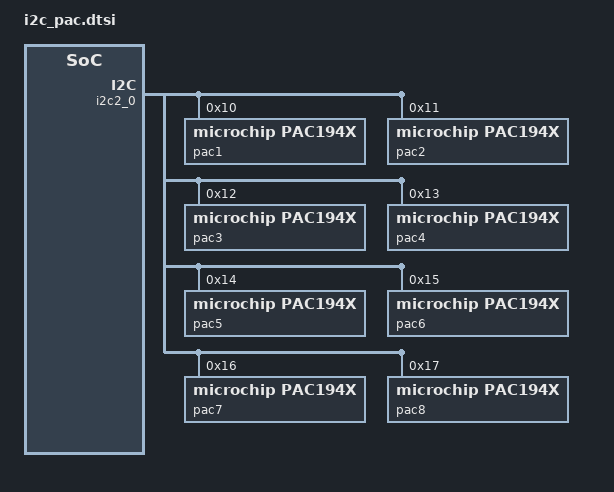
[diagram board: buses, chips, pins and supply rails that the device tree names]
/* Copyright 2026 The ChromiumOS Authors
 * Use of this source code is governed by a BSD-style license that can be
 * found in the LICENSE file.
 */

#include <zephyr/dt-bindings/sensor/pac194x.h>

&i2c2_0 {
	pac1: pac1954@10 {
		compatible = "microchip,pac194x";
		reg = <0x10>;
		status = "okay";
		#address-cells = <1>;
		#size-cells = <0>;
		microchip,refresh-mode = <PAC_REFRESH_MANUAL>;
		zephyr,deferred-init;

		/* PPVAR_BATT */
		channel@1 {
			reg = <0x1>;
			microchip,shunt-resistor-micro-ohms = <5000>;
			microchip,vbus-mode = <PAC_BIPOLAR_HALF_FSR>;
			microchip,vsense-mode = <PAC_BIPOLAR_HALF_FSR>;
			microchip,accumulation-mode = <PAC_ACCUM_VPOWER>;
		};
		/* BL_PWR */
		channel@2 {
			reg = <0x2>;
			microchip,shunt-resistor-micro-ohms = <10000>;
			microchip,vbus-mode = <PAC_BIPOLAR_HALF_FSR>;
			microchip,vsense-mode = <PAC_BIPOLAR_HALF_FSR>;
			microchip,accumulation-mode = <PAC_ACCUM_VPOWER>;
		};
		/* PP3800_VPH_PWR_A_S5 */
		channel@3 {
			reg = <0x3>;
			microchip,shunt-resistor-micro-ohms = <10000>;
			microchip,vbus-mode = <PAC_BIPOLAR_HALF_FSR>;
			microchip,vsense-mode = <PAC_BIPOLAR_HALF_FSR>;
			microchip,accumulation-mode = <PAC_ACCUM_VPOWER>;
		};
		/* PP3800_VPH_PWR_B_S5 */
		channel@4 {
			reg = <0x4>;
			microchip,shunt-resistor-micro-ohms = <10000>;
			microchip,vbus-mode = <PAC_BIPOLAR_HALF_FSR>;
			microchip,vsense-mode = <PAC_BIPOLAR_HALF_FSR>;
			microchip,accumulation-mode = <PAC_ACCUM_VPOWER>;
		};
	};

	pac2: pac1954@11 {
		compatible = "microchip,pac194x";
		reg = <0x11>;
		status = "okay";
		#address-cells = <1>;
		#size-cells = <0>;
		microchip,refresh-mode = <PAC_REFRESH_MANUAL>;
		zephyr,deferred-init;

		/* PP3300_Z1 */
		channel@1 {
			reg = <0x1>;
			microchip,shunt-resistor-micro-ohms = <10000>;
			microchip,vbus-mode = <PAC_BIPOLAR_HALF_FSR>;
			microchip,vsense-mode = <PAC_BIPOLAR_HALF_FSR>;
			microchip,accumulation-mode = <PAC_ACCUM_VPOWER>;
		};
		/* PP5000_S5 */
		channel@2 {
			reg = <0x2>;
			microchip,shunt-resistor-micro-ohms = <10000>;
			microchip,vbus-mode = <PAC_BIPOLAR_HALF_FSR>;
			microchip,vsense-mode = <PAC_BIPOLAR_HALF_FSR>;
			microchip,accumulation-mode = <PAC_ACCUM_VPOWER>;
		};
		/* PP3300_GSC_Z1 */
		channel@3 {
			reg = <0x3>;
			microchip,shunt-resistor-micro-ohms = <20000>;
			microchip,vbus-mode = <PAC_BIPOLAR_HALF_FSR>;
			microchip,vsense-mode = <PAC_BIPOLAR_HALF_FSR>;
			microchip,accumulation-mode = <PAC_ACCUM_VPOWER>;
		};
		/* PP3300_EC_Z1 */
		channel@4 {
			reg = <0x4>;
			microchip,shunt-resistor-micro-ohms = <20000>;
			microchip,vbus-mode = <PAC_BIPOLAR_HALF_FSR>;
			microchip,vsense-mode = <PAC_BIPOLAR_HALF_FSR>;
			microchip,accumulation-mode = <PAC_ACCUM_VPOWER>;
		};
	};

	pac3: pac1954@12 {
		compatible = "microchip,pac194x";
		reg = <0x12>;
		status = "okay";
		#address-cells = <1>;
		#size-cells = <0>;
		microchip,refresh-mode = <PAC_REFRESH_MANUAL>;
		zephyr,deferred-init;

		/* PP3300_TCHPAD_S3 */
		channel@1 {
			reg = <0x1>;
			microchip,shunt-resistor-micro-ohms = <20000>;
			microchip,vbus-mode = <PAC_BIPOLAR_HALF_FSR>;
			microchip,vsense-mode = <PAC_BIPOLAR_HALF_FSR>;
			microchip,accumulation-mode = <PAC_ACCUM_VPOWER>;
		};
		/* PP3300_WLAN_X */
		channel@2 {
			reg = <0x2>;
			microchip,shunt-resistor-micro-ohms = <20000>;
			microchip,vbus-mode = <PAC_BIPOLAR_HALF_FSR>;
			microchip,vsense-mode = <PAC_BIPOLAR_HALF_FSR>;
			microchip,accumulation-mode = <PAC_ACCUM_VPOWER>;
		};
		/* PP3300_NVME_X */
		channel@3 {
			reg = <0x3>;
			microchip,shunt-resistor-micro-ohms = <20000>;
			microchip,vbus-mode = <PAC_BIPOLAR_HALF_FSR>;
			microchip,vsense-mode = <PAC_BIPOLAR_HALF_FSR>;
			microchip,accumulation-mode = <PAC_ACCUM_VPOWER>;
		};
		/* PP3300_TCHSCR_X */
		channel@4 {
			reg = <0x4>;
			microchip,shunt-resistor-micro-ohms = <20000>;
			microchip,vbus-mode = <PAC_BIPOLAR_HALF_FSR>;
			microchip,vsense-mode = <PAC_BIPOLAR_HALF_FSR>;
			microchip,accumulation-mode = <PAC_ACCUM_VPOWER>;
		};
	};

	pac4: pac1954@13 {
		compatible = "microchip,pac194x";
		reg = <0x13>;
		status = "okay";
		#address-cells = <1>;
		#size-cells = <0>;
		microchip,refresh-mode = <PAC_REFRESH_MANUAL>;
		zephyr,deferred-init;

		/* PP3300_UCAM_X */
		channel@1 {
			reg = <0x1>;
			microchip,shunt-resistor-micro-ohms = <20000>;
			microchip,vbus-mode = <PAC_BIPOLAR_HALF_FSR>;
			microchip,vsense-mode = <PAC_BIPOLAR_HALF_FSR>;
			microchip,accumulation-mode = <PAC_ACCUM_VPOWER>;
		};
		/* PP3300_FP_Z1_X */
		channel@2 {
			reg = <0x2>;
			microchip,shunt-resistor-micro-ohms = <20000>;
			microchip,vbus-mode = <PAC_BIPOLAR_HALF_FSR>;
			microchip,vsense-mode = <PAC_BIPOLAR_HALF_FSR>;
			microchip,accumulation-mode = <PAC_ACCUM_VPOWER>;
		};
		/* PP3300_DISP_X */
		channel@3 {
			reg = <0x3>;
			microchip,shunt-resistor-micro-ohms = <20000>;
			microchip,vbus-mode = <PAC_BIPOLAR_HALF_FSR>;
			microchip,vsense-mode = <PAC_BIPOLAR_HALF_FSR>;
			microchip,accumulation-mode = <PAC_ACCUM_VPOWER>;
		};
		/* PP0900_RT_X */
		channel@4 {
			reg = <0x4>;
			microchip,shunt-resistor-micro-ohms = <10000>;
			microchip,vbus-mode = <PAC_BIPOLAR_HALF_FSR>;
			microchip,vsense-mode = <PAC_BIPOLAR_HALF_FSR>;
			microchip,accumulation-mode = <PAC_ACCUM_VPOWER>;
		};
	};

	pac5: pac1954@14 {
		compatible = "microchip,pac194x";
		reg = <0x14>;
		status = "okay";
		#address-cells = <1>;
		#size-cells = <0>;
		microchip,refresh-mode = <PAC_REFRESH_MANUAL>;
		zephyr,deferred-init;

		/* GFX_VIN_V */
		channel@2 {
			reg = <0x2>;
			microchip,shunt-resistor-micro-ohms = <2000>;
			microchip,vbus-mode = <PAC_BIPOLAR_HALF_FSR>;
			microchip,vsense-mode = <PAC_BIPOLAR_HALF_FSR>;
			microchip,accumulation-mode = <PAC_ACCUM_VPOWER>;
		};
		/* APC0_VIN_V */
		channel@3 {
			reg = <0x3>;
			microchip,shunt-resistor-micro-ohms = <2000>;
			microchip,vbus-mode = <PAC_BIPOLAR_HALF_FSR>;
			microchip,vsense-mode = <PAC_BIPOLAR_HALF_FSR>;
			microchip,accumulation-mode = <PAC_ACCUM_VPOWER>;
		};
		/* APC1_VIN_V */
		channel@4 {
			reg = <0x4>;
			microchip,shunt-resistor-micro-ohms = <2000>;
			microchip,vbus-mode = <PAC_BIPOLAR_HALF_FSR>;
			microchip,vsense-mode = <PAC_BIPOLAR_HALF_FSR>;
			microchip,accumulation-mode = <PAC_ACCUM_VPOWER>;
		};
	};

	pac6: pac1954@15 {
		compatible = "microchip,pac194x";
		reg = <0x15>;
		status = "okay";
		#address-cells = <1>;
		#size-cells = <0>;
		microchip,refresh-mode = <PAC_REFRESH_MANUAL>;
		zephyr,deferred-init;

		/* PP1200_L12B_S3 */
		channel@1 {
			reg = <0x1>;
			microchip,shunt-resistor-micro-ohms = <20000>;
			microchip,vbus-mode = <PAC_BIPOLAR_HALF_FSR>;
			microchip,vsense-mode = <PAC_BIPOLAR_HALF_FSR>;
			microchip,accumulation-mode = <PAC_ACCUM_VPOWER>;
		};
		/* PP1800_L15B_S3 */
		channel@2 {
			reg = <0x2>;
			microchip,shunt-resistor-micro-ohms = <20000>;
			microchip,vbus-mode = <PAC_BIPOLAR_HALF_FSR>;
			microchip,vsense-mode = <PAC_BIPOLAR_HALF_FSR>;
			microchip,accumulation-mode = <PAC_ACCUM_VPOWER>;
		};
		/* PP0730_S12C_S0 */
		channel@3 {
			reg = <0x3>;
			microchip,shunt-resistor-micro-ohms = <2000>;
			microchip,vbus-mode = <PAC_BIPOLAR_HALF_FSR>;
			microchip,vsense-mode = <PAC_BIPOLAR_HALF_FSR>;
			microchip,accumulation-mode = <PAC_ACCUM_VPOWER>;
		};
		/* PP0710_S78C_S0 */
		channel@4 {
			reg = <0x4>;
			microchip,shunt-resistor-micro-ohms = <2000>;
			microchip,vbus-mode = <PAC_BIPOLAR_HALF_FSR>;
			microchip,vsense-mode = <PAC_BIPOLAR_HALF_FSR>;
			microchip,accumulation-mode = <PAC_ACCUM_VPOWER>;
		};
	};

	pac7: pac1954@16 {
		compatible = "microchip,pac194x";
		reg = <0x16>;
		status = "okay";
		#address-cells = <1>;
		#size-cells = <0>;
		microchip,refresh-mode = <PAC_REFRESH_MANUAL>;
		zephyr,deferred-init;

		/* PP1800_L1I_S3 */
		channel@1 {
			reg = <0x1>;
			microchip,shunt-resistor-micro-ohms = <2000>;
			microchip,vbus-mode = <PAC_BIPOLAR_HALF_FSR>;
			microchip,vsense-mode = <PAC_BIPOLAR_HALF_FSR>;
			microchip,accumulation-mode = <PAC_ACCUM_VPOWER>;
		};
		/* PP0900_VDD2L_MEM_S3 */
		channel@2 {
			reg = <0x2>;
			microchip,shunt-resistor-micro-ohms = <10000>;
			microchip,vbus-mode = <PAC_BIPOLAR_HALF_FSR>;
			microchip,vsense-mode = <PAC_BIPOLAR_HALF_FSR>;
			microchip,accumulation-mode = <PAC_ACCUM_VPOWER>;
		};
		/* PP1080_S23I_S3 */
		channel@3 {
			reg = <0x3>;
			microchip,shunt-resistor-micro-ohms = <5000>;
			microchip,vbus-mode = <PAC_BIPOLAR_HALF_FSR>;
			microchip,vsense-mode = <PAC_BIPOLAR_HALF_FSR>;
			microchip,accumulation-mode = <PAC_ACCUM_VPOWER>;
		};
		/* PP0800_S56I_S0 */
		channel@4 {
			reg = <0x4>;
			microchip,shunt-resistor-micro-ohms = <5000>;
			microchip,vbus-mode = <PAC_BIPOLAR_HALF_FSR>;
			microchip,vsense-mode = <PAC_BIPOLAR_HALF_FSR>;
			microchip,accumulation-mode = <PAC_ACCUM_VPOWER>;
		};
	};

	pac8: pac1954@17 {
		compatible = "microchip,pac194x";
		reg = <0x17>;
		status = "okay";
		#address-cells = <1>;
		#size-cells = <0>;
		microchip,refresh-mode = <PAC_REFRESH_MANUAL>;
		zephyr,deferred-init;

		/* PP0500_VDDQ_MEM_S0 */
		channel@1 {
			reg = <0x1>;
			microchip,shunt-resistor-micro-ohms = <10000>;
			microchip,vbus-mode = <PAC_BIPOLAR_HALF_FSR>;
			microchip,vsense-mode = <PAC_BIPOLAR_HALF_FSR>;
			microchip,accumulation-mode = <PAC_ACCUM_VPOWER>;
		};
		/* PP0730_S12J_S3 */
		channel@2 {
			reg = <0x2>;
			microchip,shunt-resistor-micro-ohms = <2000>;
			microchip,vbus-mode = <PAC_BIPOLAR_HALF_FSR>;
			microchip,vsense-mode = <PAC_BIPOLAR_HALF_FSR>;
			microchip,accumulation-mode = <PAC_ACCUM_VPOWER>;
		};
		/* PP0800_S34J_S0 */
		channel@3 {
			reg = <0x3>;
			microchip,shunt-resistor-micro-ohms = <2000>;
			microchip,vbus-mode = <PAC_BIPOLAR_HALF_FSR>;
			microchip,vsense-mode = <PAC_BIPOLAR_HALF_FSR>;
			microchip,accumulation-mode = <PAC_ACCUM_VPOWER>;
		};
		/* PP0730_S678J_S0 */
		channel@4 {
			reg = <0x4>;
			microchip,shunt-resistor-micro-ohms = <2000>;
			microchip,vbus-mode = <PAC_BIPOLAR_HALF_FSR>;
			microchip,vsense-mode = <PAC_BIPOLAR_HALF_FSR>;
			microchip,accumulation-mode = <PAC_ACCUM_VPOWER>;
		};
	};
};
